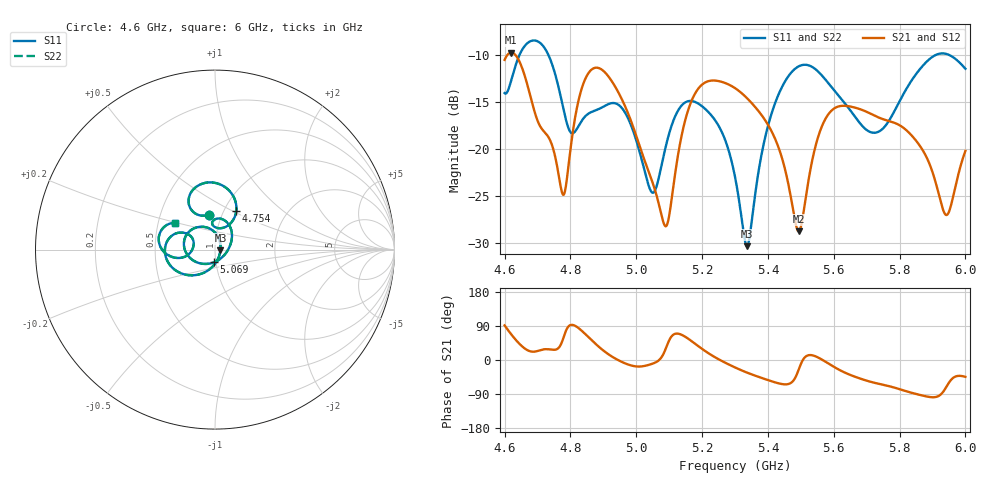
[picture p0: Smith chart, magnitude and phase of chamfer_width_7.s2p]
! TOUCHSTONE file generated by CST MICROWAVE STUDIO
! Date and time: Sat Nov 30 03:28:47 2024
! Project name: test_tuning.cst
! Parameters = {airCoaxOuterDiameter=3; chamferAngle=45; chamferWidth=14; connectorLength=10; drillingHoleDiameter=4.1; feedLength=60; flareDiameter=130; flareLength=70; gratingDistance=0; gratingGap=1.90274; outletLength=30; polarizerLength=134; probe1Diameter=1.3; probe1Distance=14; probe1Length=1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
! Header version: 2024
! Port assignment regex: !\s*Touchstone port\s*([0-9]+)\s*=\s*(CST MWS port|CST DES external port|CST DES block port)\s*(.+)\s* \(\"(.*)\"\)(\s*mode\s*([0-9]+))?.*
! Touchstone port assignment:
! Touchstone port 1 = CST MWS port 1 ("Input1")
! Touchstone port 2 = CST MWS port 2 ("Input2")
# GHz S MA R 50
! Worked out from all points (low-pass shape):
!   1001 points, 4.6 GHz to 6 GHz, reference 50 ohm
!   highest |S21| = -9.79 dB at 4.62 GHz (marker M1); lowest = -28.8 dB at 5.493 GHz (marker M2)
!   |S21| within 3 dB of the highest: start of sweep to 4.666 GHz; 4.843 GHz to 4.925 GHz (82.46 MHz wide, 1.69 % of centre)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
!   lowest |S11| = -30.3 dB at 5.336 GHz (marker M3), VSWR 1.06, Z = 53.1 - j0.342 ohm
!   |S11| at or under -10 dB: start of sweep to 4.646 GHz; 4.733 GHz to 5.912 GHz (1.18 GHz wide, 22.2 % of centre); 5.948 GHz to end of sweep
!   |S22| runs from -30.3 to -8.5 dB; largest |S21 - S12| = 4.1e-07
!   S11 on the Smith chart (normalised r, x): 4.6 GHz: 0.87, +0.35; 4.754 GHz: 1.14, +0.53; 5.069 GHz: 0.98, -0.14; 6 GHz: 0.61, +0.20
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4.6  0.1977 99.5  0.2966 91.3  0.2966 91.3  0.1977 99.5
4.6196  0.2295 118.6  0.3241 68.3  0.3241 68.3  0.2295 118.6
4.6854  0.3756 98.6  0.1708 21.9  0.1708 21.9  0.3756 98.6
4.754  0.2477 61.4  0.09028 27.2  0.09028 27.2  0.2477 61.4
4.782  0.1535 61.5  0.05831 67.1  0.05831 67.1  0.1535 61.5
4.8338  0.1404 95.8  0.2077 77.6  0.2077 77.6  0.1404 95.8
4.9234  0.1745 83.4  0.2317 10.5  0.2317 10.5  0.1745 83.4
5.0438  0.05994 -31.9  0.07072 -11.3  0.07072 -11.3  0.05994 -31.9
5.0676  0.06915 -90.9  0.05165 -1.4  0.05165 -1.4  0.06915 -90.9
5.069  0.07084 -93.9  0.05049 -0.4  0.05049 -0.4  0.07084 -93.9
5.0956  0.1132 -137.5  0.04058 43.3  0.04058 43.3  0.1132 -137.5
5.1642  0.1796 157.8  0.1731 52.3  0.1731 52.3  0.1796 157.8
5.3  0.07109 75.2  0.21 -19.6  0.21 -19.6  0.07109 75.2
5.3364  0.03043 -6.1  0.1858 -33.2  0.1858 -33.2  0.03043 -6.1
5.4064  0.1446 -116.3  0.1285 -54.8  0.1285 -54.8  0.1446 -116.3
5.4932  0.2739 -167.6  0.03641 -26.1  0.03641 -26.1  0.2739 -167.6
5.5338  0.2725 171.4  0.08552 12.6  0.08552 12.6  0.2725 171.4
5.6052  0.2006 152.0  0.1653 -20.5  0.1653 -20.5  0.2006 152.0
5.7676  0.1408 -172.1  0.1405 -68.9  0.1405 -68.9  0.1408 -172.1
5.8684  0.2733 -175.1  0.0996 -93.6  0.0996 -93.6  0.2733 -175.1
5.9412  0.3193 161.4  0.04456 -72.3  0.04456 -72.3  0.3193 161.4
6  0.2661 145.9  0.09748 -44.4  0.09748 -44.4  0.2661 145.9
